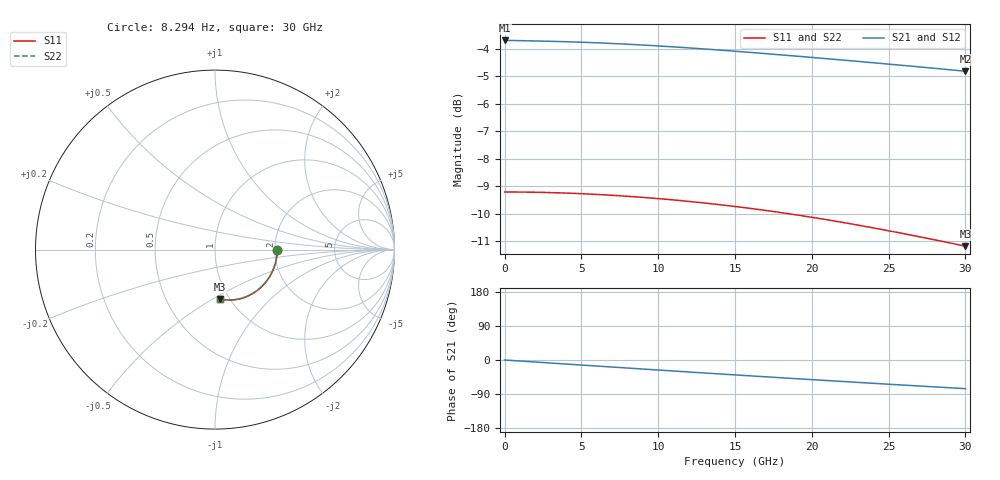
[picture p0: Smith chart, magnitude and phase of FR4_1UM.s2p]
! Created Tue Apr  6 14:37:45 2021
! List of port names and net name(s): example Port n = <port_name> <net_name1> <net_name2> ...
! Port 1 = P1 P1
! Port 2 = P2 P2
# hz S ri R 50
! 2 Port Network Data from data block
! freq  reS11  imS11  reS21  imS21  reS12  imS12  reS22  imS22
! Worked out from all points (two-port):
!   140 points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, 8.294 Hz to 30 GHz, reference 50 ohm
!   highest |S21| = -3.70 dB at 523.3 kHz (marker M1); lowest = -4.8 dB at 30 GHz (marker M2)
!   |S21| within 3 dB of the highest: start of sweep to end of sweep
!   lowest |S11| = -11.2 dB at 30 GHz (marker M3), VSWR 1.76, Z = 45.1 - j26.9 ohm
!   |S11| at or under -10 dB: 18.59 GHz to end of sweep
!   |S22| runs from -11.2 to -9.2 dB; largest |S21 - S12| = 0
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8.293899  0.3466 -1.58e-10  0.6534 -2.6e-10  0.6534 -2.6e-10  0.3466 -1.58e-10
523309.7  0.3466 -9.97e-06  0.6534 -1.64e-05  0.6534 -1.64e-05  0.3466 -9.97e-06
1.458333e9  0.3453 -0.0277  0.6509 -0.045  0.6509 -0.045  0.3453 -0.0277
2.916667e9  0.3414 -0.0551  0.6451 -0.0888  0.6451 -0.0888  0.3414 -0.0551
4.166667e9  0.336 -0.0779  0.6374 -0.1258  0.6374 -0.1258  0.336 -0.0779
5.416667e9  0.3289 -0.1001  0.6274 -0.162  0.6274 -0.162  0.3289 -0.1001
6.666667e9  0.3201 -0.1213  0.615 -0.1972  0.615 -0.1972  0.3201 -0.1213
7.916667e9  0.3098 -0.1415  0.6003 -0.2313  0.6003 -0.2313  0.3098 -0.1415
1.03125e10  0.2864 -0.1769  0.5666 -0.2929  0.5666 -0.2929  0.2864 -0.1769
1.28125e10  0.2575 -0.2088  0.5244 -0.3511  0.5244 -0.3511  0.2575 -0.2088
1.40625e10  0.2417 -0.2226  0.5011 -0.3776  0.5011 -0.3776  0.2417 -0.2226
1.53125e10  0.2251 -0.235  0.4765 -0.4023  0.4765 -0.4023  0.2251 -0.235
1.65625e10  0.2081 -0.2459  0.4509 -0.4252  0.4509 -0.4252  0.2081 -0.2459
1.78125e10  0.1905 -0.2553  0.4243 -0.4463  0.4243 -0.4463  0.1905 -0.2553
1.90625e10  0.1728 -0.2631  0.3969 -0.4655  0.3969 -0.4655  0.1728 -0.2631
2.03125e10  0.1549 -0.2695  0.3689 -0.4828  0.3689 -0.4828  0.1549 -0.2695
2.15625e10  0.1371 -0.2744  0.3403 -0.4983  0.3403 -0.4983  0.1371 -0.2744
2.28125e10  0.1194 -0.2779  0.3113 -0.512  0.3113 -0.512  0.1194 -0.2779
2.40625e10  0.102 -0.2801  0.2821 -0.5239  0.2821 -0.5239  0.102 -0.2801
2.53125e10  0.0851 -0.281  0.2526 -0.534  0.2526 -0.534  0.0851 -0.281
2.75e10  0.0566 -0.2799  0.201 -0.5475  0.201 -0.5475  0.0566 -0.2799
3e10  0.0265 -0.275  0.1423 -0.5565  0.1423 -0.5565  0.0265 -0.275
